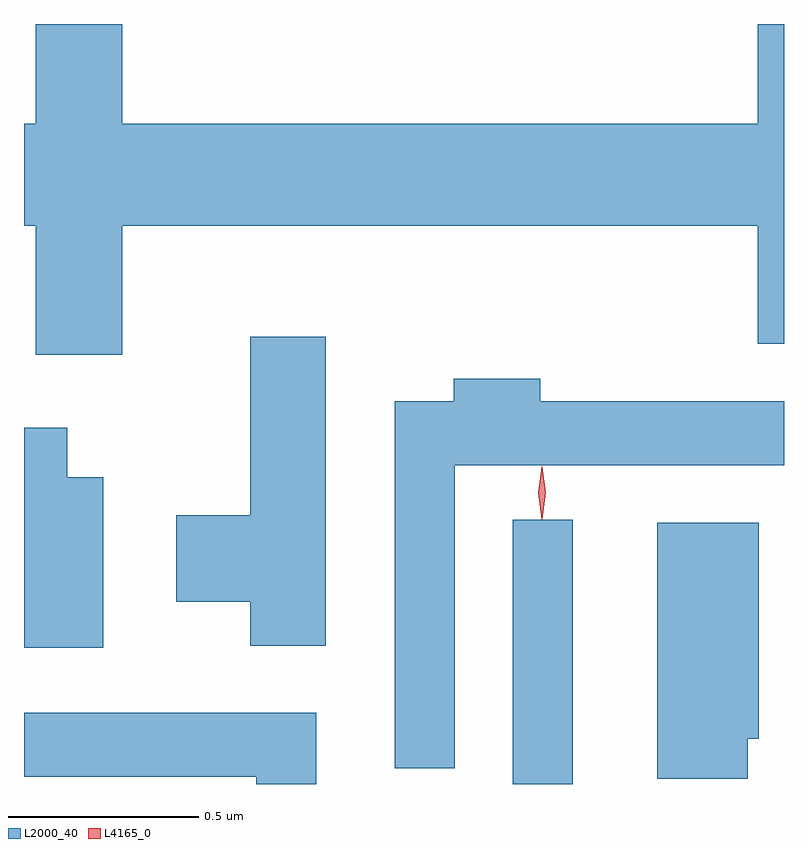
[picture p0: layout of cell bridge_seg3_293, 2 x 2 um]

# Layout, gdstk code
import gdstk
lib = gdstk.Library(unit=1e-6, precision=1e-09)
def R(c, l, rs):  # rectangles x0, y0, x1, y1
    for r in rs: c.add(gdstk.rectangle(r[:2], r[2:], *l))
def P(c, l, *ps):  # polygons
    for p in ps: c.add(gdstk.Polygon(p, *l))
L2000_40 = (2000, 40)
L4165_0 = (4165, 0)

bridge_seg3_293 = lib.new_cell('bridge_seg3_293')
R(bridge_seg3_293, L2000_40, [(1070.686,1120.107,1070.844,1120.803)])
P(bridge_seg3_293, L2000_40, [(1069.659,1121.576),(1071.331,1121.576),(1071.331,1121.266),(1071.4,1121.266),(1071.4,1122.107),(1071.331,1122.107),(1071.331,1121.844),(1069.659,1121.844),(1069.659,1122.107),(1069.431,1122.107),(1069.431,1121.844),(1069.4,1121.844),(1069.4,1121.576),(1069.431,1121.576),(1069.431,1121.236),(1069.659,1121.236)],
  [(1070.194,1121.284),(1069.996,1121.284),(1069.996,1120.814),(1069.801,1120.814),(1069.801,1120.586),(1069.996,1120.586),(1069.996,1120.471),(1070.194,1120.471)],
  [(1070.534,1120.946),(1071.4,1120.946),(1071.4,1121.114),(1070.759,1121.114),(1070.759,1121.174),(1070.531,1121.174),(1070.531,1121.114),(1070.376,1121.114),(1070.376,1120.148),(1070.534,1120.148)],
  [(1069.609,1120.914),(1069.514,1120.914),(1069.514,1121.044),(1069.4,1121.044),(1069.4,1120.466),(1069.609,1120.466)],
  [(1071.304,1120.226),(1071.334,1120.226),(1071.334,1120.794),(1071.066,1120.794),(1071.066,1120.121),(1071.304,1120.121)],
  [(1070.169,1120.294),(1069.4,1120.294),(1069.4,1120.126),(1070.011,1120.126),(1070.011,1120.107),(1070.169,1120.107)])
P(bridge_seg3_293, L4165_0, [(1070.763,1120.803),(1070.762,1120.804),(1070.753,1120.873),(1070.762,1120.942),(1070.763,1120.943),(1070.764,1120.942),(1070.773,1120.873),(1070.764,1120.804)])

lib.write_gds('bridge_seg3_293.gds')
